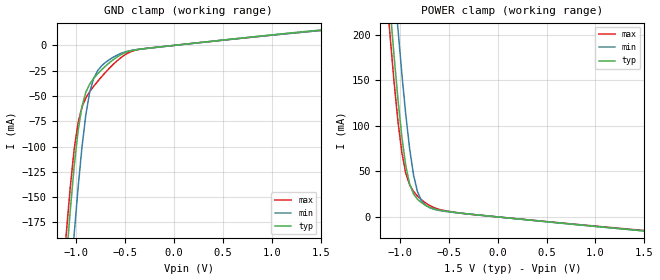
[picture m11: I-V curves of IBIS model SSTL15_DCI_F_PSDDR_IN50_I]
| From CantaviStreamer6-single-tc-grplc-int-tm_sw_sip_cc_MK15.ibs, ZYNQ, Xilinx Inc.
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[Model]  SSTL15_DCI_F_PSDDR_IN50_I
Model_type Input
Polarity   Non-Inverting
Vinl =   0.6500V
Vinh =   0.8500V
C_comp   2.69pf   2.69pf  2.70pf
[Temperature Range]   25.0000   85.0000   0.0
[Voltage Range]   1.5000V   1.4250V   1.5750V
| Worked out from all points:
|   GND clamp passes 1 mA (typ) near -0.09 V on its own axis
|   POWER clamp passes 1 mA (typ) near -0.09 V on its own axis
[GND_clamp]
|Voltage   I(typ)   I(min)   I(max)
-1.5V     -783.8mA   -857.2mA   -755.7mA
-1.1V     -212.7mA   -290.5mA   -185.8mA
-1.06V    -163.6mA   -237.6mA   -140.4mA
-1.02V    -120.1mA   -187.4mA   -103mA
-980mV    -84.78mA   -141.2mA   -76.69mA
-940mV    -60.41mA   -100.7mA   -61.02mA
-900mV    -46.17mA   -68.3mA    -51.87mA
-860mV    -38.02mA   -45.86mA   -45.61mA
-780mV    -28.14mA   -24.98mA   -35.61mA
-660mV    -17.17mA   -14.08mA   -22.57mA
-340mV    -3.671mA   -3.611mA   -3.661mA
1.5V      15.23mA    14.71mA    14.8mA
[POWER_clamp]
|Voltage   I(typ)   I(min)   I(max)
-1.5V     825.6mA    912.1mA    791.9mA
-1.14V    284.5mA    371mA      252.2mA
-1.1V     229.7mA    314.5mA    198.8mA
-1.06V    177.7mA    259.7mA    149.2mA
-1.02V    129.8mA    207.1mA    105.6mA
-980mV    88.36mA    157.7mA    71.09mA
-940mV    56.49mA    112.9mA    48.15mA
-900mV    36.16mA    74.87mA    35.19mA
-860mV    25.27mA    46.06mA    27.87mA
-780mV    15.71mA    17.95mA    18.96mA
-380mV    4.144mA    4.092mA    4.171mA
1.5V      -15.45mA   -15.32mA   -14.9mA
